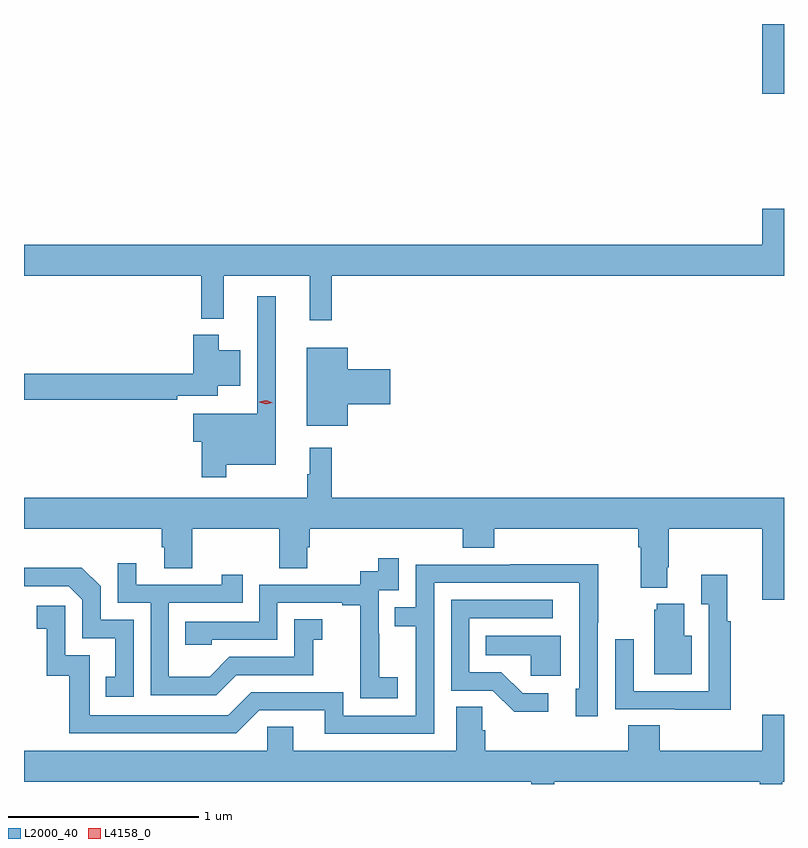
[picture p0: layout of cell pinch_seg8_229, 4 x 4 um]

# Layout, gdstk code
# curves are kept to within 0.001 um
import gdstk
lib = gdstk.Library(unit=1e-6, precision=1e-09)
def R(c, l, rs):  # rectangles x0, y0, x1, y1
    for r in rs: c.add(gdstk.rectangle(r[:2], r[2:], *l))
def P(c, l, *ps):  # polygons
    for p in ps: c.add(gdstk.Polygon(p, *l))
L2000_40 = (2000, 40)
L4158_0 = (4158, 0)

pinch_seg8_229 = lib.new_cell('pinch_seg8_229')
R(pinch_seg8_229, L2000_40, [(632.54,1102.806,632.655,1103.173)])
P(pinch_seg8_229, L2000_40, [(630.275,1101.848),(632.655,1101.848),(632.655,1102.201),(632.54,1102.201),(632.54,1102.012),(628.655,1102.012),(628.655,1101.848),(629.587,1101.848),(629.587,1101.623),(629.705,1101.623),(629.705,1101.848),(630.158,1101.848),(630.158,1101.615),(630.275,1101.615)],
  [(629.719,1100.852),(629.98,1100.852),(629.98,1101.739),(629.883,1101.739),(629.883,1101.121),(629.546,1101.121),(629.546,1100.974),(629.59,1100.974),(629.59,1100.787),(629.719,1100.787)],
  [(629.462,1101.216),(629.674,1101.216),(629.674,1101.269),(629.794,1101.269),(629.794,1101.457),(629.68,1101.457),(629.68,1101.538),(629.546,1101.538),(629.546,1101.332),(628.655,1101.332),(628.655,1101.196),(629.462,1101.196)],
  [(630.358,1101.173),(630.583,1101.173),(630.583,1101.356),(630.358,1101.356),(630.358,1101.469),(630.143,1101.469),(630.143,1101.059),(630.358,1101.059)],
  [(632.655,1100.68),(630.275,1100.68),(630.275,1100.944),(630.158,1100.944),(630.158,1100.804),(630.147,1100.804),(630.147,1100.68),(628.655,1100.68),(628.655,1100.516),(629.381,1100.516),(629.381,1100.418),(629.393,1100.418),(629.393,1100.308),(629.541,1100.308),(629.541,1100.516),(629.998,1100.516),(629.998,1100.308),(630.145,1100.308),(630.145,1100.418),(630.158,1100.418),(630.158,1100.516),(630.965,1100.516),(630.965,1100.417),(631.13,1100.417),(631.13,1100.516),(631.889,1100.516),(631.889,1100.42),(631.901,1100.42),(631.901,1100.207),(632.041,1100.207),(632.041,1100.314),(632.049,1100.314),(632.049,1100.516),(632.54,1100.516),(632.54,1100.142),(632.655,1100.142)],
  [(630.622,1099.735),(630.524,1099.735),(630.524,1099.964),(630.522,1099.964),(630.522,1100.193),(630.627,1100.193),(630.627,1100.362),(630.519,1100.362),(630.519,1100.292),(630.426,1100.292),(630.426,1100.223),(629.892,1100.223),(629.892,1100.028),(629.503,1100.028),(629.503,1099.905),(629.643,1099.905),(629.643,1099.932),(629.988,1099.932),(629.988,1100.127),(630.329,1100.127),(630.329,1100.115),(630.425,1100.115),(630.425,1099.831),(630.424,1099.831),(630.424,1099.625),(630.622,1099.625)],
  [(629.773,1099.746),(630.177,1099.746),(630.177,1099.931),(630.226,1099.931),(630.226,1100.041),(630.078,1100.041),(630.078,1099.842),(629.736,1099.842),(629.632,1099.738),(629.418,1099.738),(629.418,1100.127),(629.807,1100.127),(629.807,1100.275),(629.696,1100.275),(629.696,1100.223),(629.245,1100.223),(629.245,1100.335),(629.148,1100.335),(629.148,1100.127),(629.322,1100.127),(629.322,1099.641),(629.668,1099.641)],
  [(630.813,1100.232),(631.577,1100.232),(631.578,1099.674),(631.559,1099.674),(631.559,1099.53),(631.674,1099.53),(631.674,1100.023),(631.677,1100.023),(631.677,1100.33),(631.213,1100.33),(631.213,1100.328),(630.717,1100.328),(630.717,1100.103),(630.607,1100.103),(630.607,1100.002),(630.717,1100.002),(630.717,1099.533),(630.336,1099.533),(630.336,1099.656),(629.85,1099.656),(629.73,1099.536),(629.001,1099.536),(629.001,1099.851),(628.872,1099.851),(628.872,1100.11),(628.722,1100.11),(628.722,1099.989),(628.775,1099.989),(628.775,1099.743),(628.893,1099.743),(628.893,1099.44),(629.772,1099.44),(629.892,1099.56),(630.239,1099.56),(630.239,1099.437),(630.813,1099.437)],
  [(629.232,1100.037),(629.058,1100.037),(629.058,1100.214),(628.96,1100.312),(628.655,1100.312),(628.655,1100.214),(628.89,1100.214),(628.962,1100.142),(628.962,1099.941),(629.135,1099.941),(629.135,1099.737),(629.086,1099.737),(629.086,1099.632),(629.232,1099.632)],
  [(632.375,1100.03),(632.357,1100.03),(632.357,1100.275),(632.219,1100.275),(632.219,1100.119),(632.259,1100.119),(632.259,1099.662),(631.863,1099.662),(631.863,1099.936),(631.767,1099.936),(631.767,1099.566),(632.083,1099.566),(632.083,1099.565),(632.375,1099.565)],
  [(631.414,1099.65),(631.279,1099.65),(631.168,1099.761),(630.999,1099.761),(630.999,1100.046),(631.438,1100.046),(631.438,1100.142),(630.903,1100.142),(630.903,1099.665),(631.122,1099.665),(631.235,1099.553),(631.414,1099.553)],
  [(632.17,1099.954),(632.131,1099.954),(632.131,1100.122),(631.985,1100.122),(631.985,1100.091),(631.973,1100.091),(631.973,1099.751),(632.17,1099.751)],
  [(631.48,1099.954),(631.084,1099.954),(631.084,1099.85),(631.323,1099.85),(631.323,1099.742),(631.48,1099.742)],
  [(631.447,1099.184),(632.527,1099.184),(632.527,1099.173),(632.645,1099.173),(632.645,1099.184),(632.655,1099.184),(632.655,1099.537),(632.54,1099.537),(632.54,1099.348),(632,1099.348),(632,1099.481),(631.835,1099.481),(631.835,1099.348),(631.082,1099.348),(631.082,1099.457),(631.068,1099.457),(631.068,1099.58),(630.929,1099.58),(630.929,1099.348),(630.073,1099.348),(630.073,1099.475),(629.934,1099.475),(629.934,1099.348),(628.655,1099.348),(628.655,1099.184),(631.325,1099.184),(631.325,1099.173),(631.447,1099.173)])
P(pinch_seg8_229, L4158_0, [(629.928,1101.172),(629.894,1101.183),(629.893,1101.183),(629.894,1101.184),(629.929,1101.192),(629.964,1101.18),(629.964,1101.18),(629.964,1101.18)])

lib.write_gds('pinch_seg8_229.gds')
